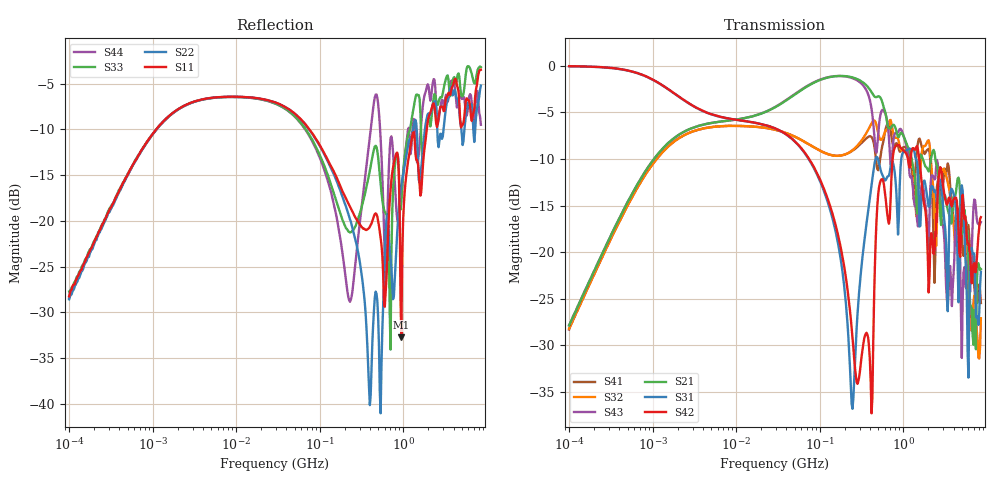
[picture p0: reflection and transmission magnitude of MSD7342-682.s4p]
# MHz S MA R 50
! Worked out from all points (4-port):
!   498 points, 100 kHz to 8.5 GHz, reference 50 ohm
!   strongest paths, dB at 100 kHz, 1.698 MHz, 29.49 MHz, 500.7 MHz, 8.5 GHz:
!     S42: -0.1, -2.8, -6.7, -13.9, -16.2
!     S31: -0.1, -2.8, -6.8, -10.1, -22.1
!     S21: -27.9, -8.0, -4.4, -3.3, -21.8
!     S43: -27.8, -8.0, -4.4, -7.4, -16.8
!     S32: -28.2, -8.3, -6.9, -7.2, -27.1
!     S41: -28.3, -8.3, -6.9, -11.2, -25.4
!   lowest |S11| = -32.7 dB at 949 MHz (marker M1), VSWR 1.05, Z = 52.4 - j0.0118 ohm
!   |S11| at or under -10 dB: start of sweep to 1.101 MHz; 75.39 MHz to 1.912 GHz (1.837 GHz wide, 185 % of centre)
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0.1  0.03869 84.9  0.04047 84.4  0.9917 -2.3  0.0385 -95.9
     0.04047 84.4  0.03725 86.5  0.03896 -95.9  0.9929 -2.3
     0.9917 -2.3  0.03896 -95.9  0.0411 85.8  0.04073 84.6
     0.0385 -95.9  0.9929 -2.3  0.04073 84.6  0.03794 86.0
8.022742  0.4773 1.0  0.5073 13.1  0.5203 -16.8  0.475 179.2
          0.5073 13.1  0.4766 1.2  0.4754 179.3  0.5212 -16.9
          0.5203 -16.8  0.4754 179.3  0.4765 1.2  0.5069 13.1
          0.475 179.2  0.5212 -16.9  0.5069 13.1  0.4758 1.0
246.6465  0.1124 -110.7  0.8644 -48.5  0.01447 145.5  0.3498 31.3
          0.8644 -48.5  0.09121 -111.6  0.3525 35.9  0.03518 -103.2
          0.01447 145.5  0.3525 35.9  0.08849 -50.2  0.8564 -56.3
          0.3498 31.3  0.03518 -103.2  0.8564 -56.3  0.04135 -8.6
948.981  0.02308 -0.3  0.4372 -166.5  0.3187 -97.0  0.3532 -129.4
         0.4372 -166.5  0.1574 -14.5  0.3518 -138.5  0.3589 -116.7
         0.3187 -97.0  0.3518 -138.5  0.1274 -41.4  0.4525 -175.8
         0.3532 -129.4  0.3589 -116.7  0.4525 -175.8  0.1392 -18.1
6034.534  0.4566 -120.3  0.0929 153.6  0.02127 29.0  0.1398 -128.4
          0.0929 153.6  0.4344 -109.0  0.04148 -140.3  0.1112 -160.8
          0.02127 29.0  0.04148 -140.3  0.7014 -103.5  0.0888 -112.6
          0.1398 -128.4  0.1112 -160.8  0.0888 -112.6  0.4389 -130.7
7244.201  0.4722 71.4  0.03991 -152.4  0.07353 82.7  0.05851 72.8
          0.03991 -152.4  0.3067 81.9  0.05865 92.6  0.07814 59.7
          0.07353 82.7  0.05865 92.6  0.5654 84.7  0.1894 -159.0
          0.05851 72.8  0.07814 59.7  0.1894 -159.0  0.3931 54.1
8500  0.6709 -62.2  0.08113 44.1  0.07845 -3.8  0.05341 -71.7
      0.08113 44.1  0.5497 -60.4  0.04427 -8.3  0.1541 -110.0
      0.07845 -3.8  0.04427 -8.3  0.6927 -67.1  0.1449 14.5
      0.05341 -71.7  0.1541 -110.0  0.1449 14.5  0.3355 -81.8
